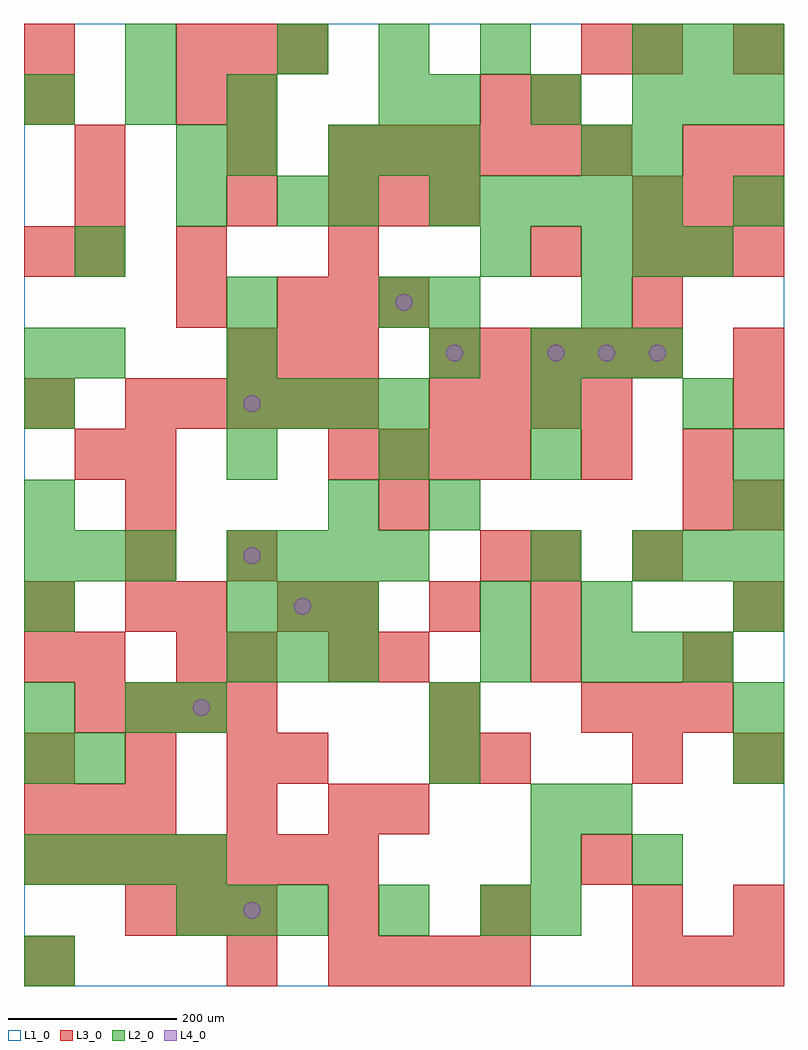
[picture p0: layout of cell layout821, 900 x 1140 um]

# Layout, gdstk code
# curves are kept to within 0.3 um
import gdstk
lib = gdstk.Library(unit=1e-6, precision=1e-09)
def R(c, l, rs):  # rectangles x0, y0, x1, y1
    for r in rs: c.add(gdstk.rectangle(r[:2], r[2:], *l))
def A(c, l, x, y, w, h, nx, ny, dx, dy):  # array of equal rectangles
    R(c, l, [(x+i*dx, y+j*dy, x+i*dx+w, y+j*dy+h) for i in range(nx) for j in range(ny)])
def P(c, l, *ps):  # polygons
    for p in ps: c.add(gdstk.Polygon(p, *l))
L1_0 = (1, 0)
L2_0 = (2, 0)
L3_0 = (3, 0)
L4_0 = (4, 0)

layout821 = lib.new_cell('layout821')
R(layout821, L1_0, [(0,0,900,1140)])
A(layout821, L2_0, 180, 60, 60, 60, 3, 1, 60, 0)
A(layout821, L2_0, 600, 60, 60, 60, 1, 3, 0, 60)
A(layout821, L2_0, 0, 120, 60, 60, 4, 1, 60, 0)
A(layout821, L2_0, 0, 300, 60, 60, 1, 4, 0, 120)
A(layout821, L2_0, 840, 300, 60, 60, 1, 3, 0, 120)
A(layout821, L2_0, 240, 360, 60, 60, 3, 2, 60, 60)
A(layout821, L2_0, 660, 360, 60, 60, 3, 2, 60, 480)
A(layout821, L2_0, 0, 480, 60, 60, 3, 1, 60, 0)
A(layout821, L2_0, 240, 480, 60, 60, 4, 2, 60, 180)
A(layout821, L2_0, 720, 480, 60, 60, 3, 2, 60, 600)
A(layout821, L2_0, 240, 600, 60, 60, 3, 1, 180, 0)
A(layout821, L2_0, 600, 720, 60, 60, 3, 1, 60, 0)
A(layout821, L2_0, 480, 900, 60, 60, 5, 1, 60, 0)
A(layout821, L2_0, 360, 960, 60, 60, 3, 1, 60, 0)
A(layout821, L2_0, 0, 1020, 60, 60, 3, 1, 120, 0)
A(layout821, L2_0, 480, 1020, 60, 60, 3, 1, 120, 0)
A(layout821, L2_0, 300, 1080, 60, 60, 3, 1, 120, 0)
R(layout821, L2_0, [(0,0,60,60), (420,60,480,120), (540,60,600,120), (720,120,780,180), (660,180,720,240), (0,240,60,300), (60,240,120,300), (480,240,540,300), (840,240,900,300), (120,300,180,360), (180,300,240,360), (480,300,540,360), (540,360,600,420), (540,420,600,480), (660,420,720,480), (600,480,660,540), (360,540,420,600), (480,540,540,600), (840,600,900,660), (600,660,660,720), (780,660,840,720), (0,720,60,780), (60,720,120,780), (240,720,300,780), (480,720,540,780), (240,780,300,840), (420,780,480,840), (480,780,540,840), (660,780,720,840), (60,840,120,900), (540,840,600,900), (180,900,240,960), (300,900,360,960), (360,900,420,960), (840,900,900,960), (180,960,240,1020), (240,960,300,1020), (660,960,720,1020), (720,960,780,1020), (420,1020,480,1080), (780,1020,840,1080), (840,1020,900,1080), (120,1080,180,1140)])
A(layout821, L3_0, 240, 0, 60, 60, 1, 3, 0, 180)
A(layout821, L3_0, 360, 0, 60, 60, 4, 2, 60, 600)
A(layout821, L3_0, 720, 0, 60, 60, 3, 2, 60, 840)
A(layout821, L3_0, 120, 60, 60, 60, 3, 1, 60, 0)
A(layout821, L3_0, 360, 60, 60, 60, 3, 1, 180, 0)
A(layout821, L3_0, 840, 60, 60, 60, 1, 3, 0, 180)
A(layout821, L3_0, 0, 120, 60, 60, 7, 1, 60, 0)
A(layout821, L3_0, 660, 120, 60, 60, 1, 3, 0, 480)
A(layout821, L3_0, 0, 180, 60, 60, 3, 1, 60, 0)
A(layout821, L3_0, 0, 240, 60, 60, 3, 1, 120, 0)
A(layout821, L3_0, 60, 300, 60, 60, 4, 1, 60, 0)
A(layout821, L3_0, 660, 300, 60, 60, 3, 1, 60, 0)
A(layout821, L3_0, 60, 360, 60, 60, 1, 3, 0, 240)
A(layout821, L3_0, 420, 360, 60, 60, 3, 1, 180, 0)
A(layout821, L3_0, 120, 420, 60, 60, 1, 4, 0, 60)
A(layout821, L3_0, 360, 420, 60, 60, 3, 1, 120, 0)
A(layout821, L3_0, 720, 480, 60, 60, 1, 3, 0, 300)
A(layout821, L3_0, 0, 660, 60, 60, 1, 3, 0, 180)
A(layout821, L3_0, 120, 660, 60, 60, 5, 1, 60, 0)
A(layout821, L3_0, 480, 660, 60, 60, 4, 1, 60, 0)
A(layout821, L3_0, 240, 720, 60, 60, 3, 1, 60, 0)
A(layout821, L3_0, 480, 720, 60, 60, 5, 1, 60, 0)
A(layout821, L3_0, 300, 780, 60, 60, 3, 1, 60, 0)
A(layout821, L3_0, 240, 900, 60, 60, 1, 3, 0, 60)
A(layout821, L3_0, 360, 900, 60, 60, 3, 1, 60, 0)
A(layout821, L3_0, 720, 900, 60, 60, 3, 1, 60, 0)
A(layout821, L3_0, 360, 960, 60, 60, 6, 1, 60, 0)
A(layout821, L3_0, 180, 1080, 60, 60, 3, 1, 60, 0)
R(layout821, L3_0, [(0,0,60,60), (360,180,420,240), (420,180,480,240), (300,240,360,300), (480,240,540,300), (540,240,600,300), (720,240,780,300), (480,300,540,360), (0,360,60,420), (180,360,240,420), (360,360,420,420), (0,420,60,480), (180,420,240,480), (300,420,360,480), (240,480,300,540), (540,480,600,540), (600,480,660,540), (420,540,480,600), (780,540,840,600), (840,540,900,600), (780,600,840,660), (840,660,900,720), (840,720,900,780), (180,780,240,840), (180,840,240,900), (360,840,420,900), (600,840,660,900), (60,900,120,960), (60,960,120,1020), (780,960,840,1020), (840,960,900,1020), (180,1020,240,1080), (540,1020,600,1080), (600,1020,660,1080), (0,1080,60,1140), (840,1080,900,1140)])
P(layout821, L4_0, [(220,330),(219.239,333.827),(217.071,337.071),(213.827,339.239),(210,340),(206.173,339.239),(202.929,337.071),(200.761,333.827),(200,330),(200.761,326.173),(202.929,322.929),(206.173,320.761),(210,320),(213.827,320.761),(217.071,322.929),(219.239,326.173)],
  [(280,90),(279.239,93.827),(277.071,97.071),(273.827,99.239),(270,100),(266.173,99.239),(262.929,97.071),(260.761,93.827),(260,90),(260.761,86.173),(262.929,82.929),(266.173,80.761),(270,80),(273.827,80.761),(277.071,82.929),(279.239,86.173)],
  [(280,510),(279.239,513.827),(277.071,517.071),(273.827,519.239),(270,520),(266.173,519.239),(262.929,517.071),(260.761,513.827),(260,510),(260.761,506.173),(262.929,502.929),(266.173,500.761),(270,500),(273.827,500.761),(277.071,502.929),(279.239,506.173)],
  [(280,690),(279.239,693.827),(277.071,697.071),(273.827,699.239),(270,700),(266.173,699.239),(262.929,697.071),(260.761,693.827),(260,690),(260.761,686.173),(262.929,682.929),(266.173,680.761),(270,680),(273.827,680.761),(277.071,682.929),(279.239,686.173)],
  [(340,450),(339.239,453.827),(337.071,457.071),(333.827,459.239),(330,460),(326.173,459.239),(322.929,457.071),(320.761,453.827),(320,450),(320.761,446.173),(322.929,442.929),(326.173,440.761),(330,440),(333.827,440.761),(337.071,442.929),(339.239,446.173)],
  [(460,810),(459.239,813.827),(457.071,817.071),(453.827,819.239),(450,820),(446.173,819.239),(442.929,817.071),(440.761,813.827),(440,810),(440.761,806.173),(442.929,802.929),(446.173,800.761),(450,800),(453.827,800.761),(457.071,802.929),(459.239,806.173)],
  [(520,750),(519.239,753.827),(517.071,757.071),(513.827,759.239),(510,760),(506.173,759.239),(502.929,757.071),(500.761,753.827),(500,750),(500.761,746.173),(502.929,742.929),(506.173,740.761),(510,740),(513.827,740.761),(517.071,742.929),(519.239,746.173)],
  [(640,750),(639.239,753.827),(637.071,757.071),(633.827,759.239),(630,760),(626.173,759.239),(622.929,757.071),(620.761,753.827),(620,750),(620.761,746.173),(622.929,742.929),(626.173,740.761),(630,740),(633.827,740.761),(637.071,742.929),(639.239,746.173)],
  [(700,750),(699.239,753.827),(697.071,757.071),(693.827,759.239),(690,760),(686.173,759.239),(682.929,757.071),(680.761,753.827),(680,750),(680.761,746.173),(682.929,742.929),(686.173,740.761),(690,740),(693.827,740.761),(697.071,742.929),(699.239,746.173)],
  [(760,750),(759.239,753.827),(757.071,757.071),(753.827,759.239),(750,760),(746.173,759.239),(742.929,757.071),(740.761,753.827),(740,750),(740.761,746.173),(742.929,742.929),(746.173,740.761),(750,740),(753.827,740.761),(757.071,742.929),(759.239,746.173)])

lib.write_gds('layout821.gds')
